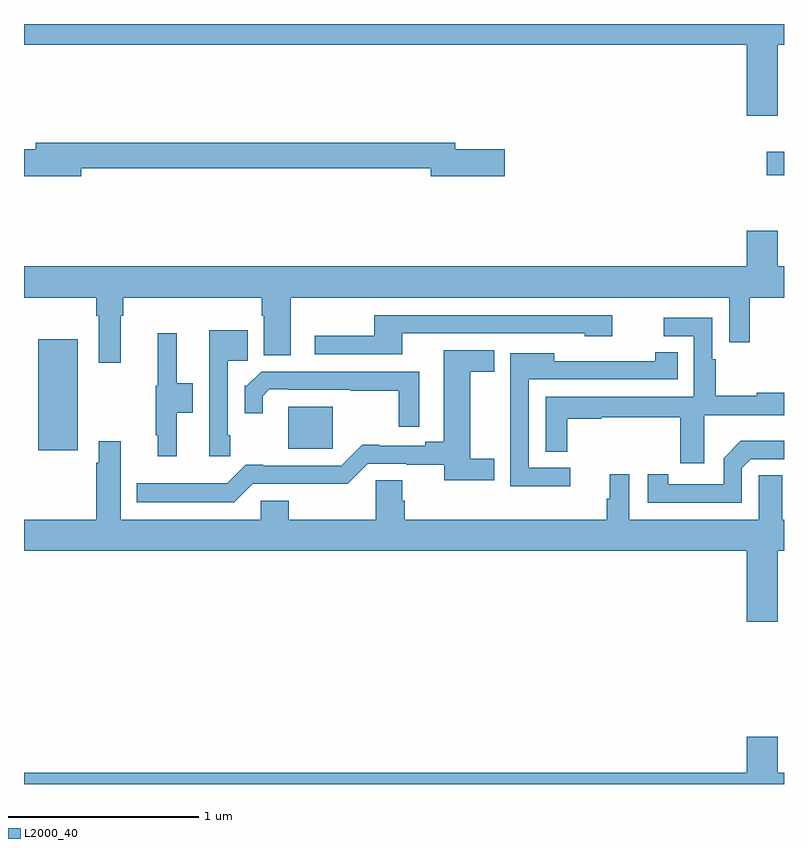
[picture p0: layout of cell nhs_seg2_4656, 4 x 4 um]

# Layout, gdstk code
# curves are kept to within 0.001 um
import gdstk
lib = gdstk.Library(unit=1e-6, precision=1e-09)
def R(c, l, rs):  # rectangles x0, y0, x1, y1
    for r in rs: c.add(gdstk.rectangle(r[:2], r[2:], *l))
def P(c, l, *ps):  # polygons
    for p in ps: c.add(gdstk.Polygon(p, *l))
L2000_40 = (2000, 40)

nhs_seg2_4656 = lib.new_cell('nhs_seg2_4656')
R(nhs_seg2_4656, L2000_40, [(365.075,589.556,365.284,590.14), (366.392,589.565,366.625,589.786), (368.91,591.005,369,591.127)])
P(nhs_seg2_4656, L2000_40, [(368.968,591.692),(369,591.692),(369,591.8),(365,591.8),(365,591.692),(368.804,591.692),(368.804,591.318),(368.968,591.318)],
  [(365.302,591.04),(367.142,591.04),(367.142,590.998),(367.531,590.998),(367.531,591.14),(367.27,591.14),(367.27,591.176),(365.063,591.176),(365.063,591.14),(365,591.14),(365,590.998),(365.302,590.998)],
  [(365.509,590.264),(365.522,590.264),(365.522,590.36),(366.251,590.36),(366.251,590.264),(366.263,590.264),(366.263,590.056),(366.403,590.056),(366.403,590.36),(368.712,590.36),(368.712,590.124),(368.821,590.124),(368.821,590.36),(369,590.36),(369,590.524),(368.968,590.524),(368.968,590.713),(368.804,590.713),(368.804,590.524),(365,590.524),(365,590.36),(365.381,590.36),(365.381,590.264),(365.393,590.264),(365.393,590.016),(365.509,590.016)],
  [(366.991,590.172),(367.95,590.172),(367.95,590.156),(368.095,590.156),(368.095,590.268),(366.844,590.268),(366.844,590.159),(366.531,590.159),(366.531,590.061),(366.991,590.061)],
  [(368.581,589.742),(369,589.742),(369,589.859),(368.856,589.859),(368.856,589.844),(368.642,589.844),(368.642,590.036),(368.622,590.036),(368.622,590.253),(368.367,590.253),(368.367,590.157),(368.526,590.157),(368.526,589.839),(367.746,589.839),(367.746,589.549),(367.858,589.549),(367.858,589.723),(368.039,589.723),(368.039,589.731),(368.453,589.731),(368.453,589.488),(368.581,589.488)],
  [(366.085,589.636),(366.072,589.636),(366.072,590.028),(366.178,590.028),(366.178,590.188),(365.976,590.188),(365.976,589.524),(366.085,589.524)],
  [(365.803,589.753),(365.887,589.753),(365.887,589.908),(365.803,589.908),(365.803,590.173),(365.705,590.173),(365.705,589.896),(365.694,589.896),(365.694,589.636),(365.705,589.636),(365.705,589.524),(365.803,589.524)],
  [(366.204,589.38),(366.704,589.379),(366.81,589.485),(367.014,589.485),(367.014,589.48),(367.211,589.48),(367.211,589.4),(367.475,589.4),(367.475,589.511),(367.348,589.511),(367.348,589.969),(367.475,589.969),(367.475,590.083),(367.208,590.083),(367.208,589.601),(367.112,589.601),(367.112,589.581),(366.871,589.581),(366.871,589.586),(366.779,589.586),(366.669,589.476),(366.259,589.476),(366.259,589.481),(366.167,589.481),(366.069,589.383),(365.594,589.384),(365.594,589.283),(366.107,589.283)],
  [(367.876,589.464),(367.656,589.464),(367.656,589.929),(368.441,589.929),(368.441,590.072),(368.323,590.072),(368.323,590.026),(367.792,590.026),(367.792,590.068),(367.56,590.068),(367.56,589.832),(367.559,589.832),(367.559,589.597),(367.56,589.597),(367.56,589.367),(367.876,589.367)],
  [(367.08,589.971),(366.248,589.971),(366.173,589.896),(366.162,589.896),(366.162,589.752),(366.257,589.752),(366.257,589.842),(366.292,589.878),(366.391,589.878),(366.391,589.875),(366.721,589.875),(366.721,589.87),(366.972,589.87),(366.972,589.68),(367.08,589.68)],
  [(368.778,589.461),(368.826,589.509),(369,589.509),(369,589.606),(368.773,589.606),(368.682,589.515),(368.682,589.377),(368.392,589.377),(368.392,589.429),(368.283,589.429),(368.283,589.281),(368.778,589.281)],
  [(368.968,589.028),(369,589.028),(369,589.192),(368.991,589.192),(368.991,589.424),(368.868,589.424),(368.868,589.192),(368.185,589.192),(368.185,589.429),(368.084,589.429),(368.084,589.302),(368.067,589.302),(368.067,589.192),(367.004,589.192),(367.004,589.29),(366.991,589.29),(366.991,589.4),(366.852,589.4),(366.852,589.192),(366.393,589.192),(366.393,589.29),(366.246,589.29),(366.246,589.192),(365.509,589.192),(365.509,589.603),(365.393,589.603),(365.393,589.49),(365.381,589.49),(365.381,589.192),(365,589.192),(365,589.028),(368.804,589.028),(368.804,588.654),(368.968,588.654)],
  [(369,587.86),(368.968,587.86),(368.968,588.049),(368.804,588.049),(368.804,587.86),(365,587.86),(365,587.8),(369,587.8)])

lib.write_gds('nhs_seg2_4656.gds')
